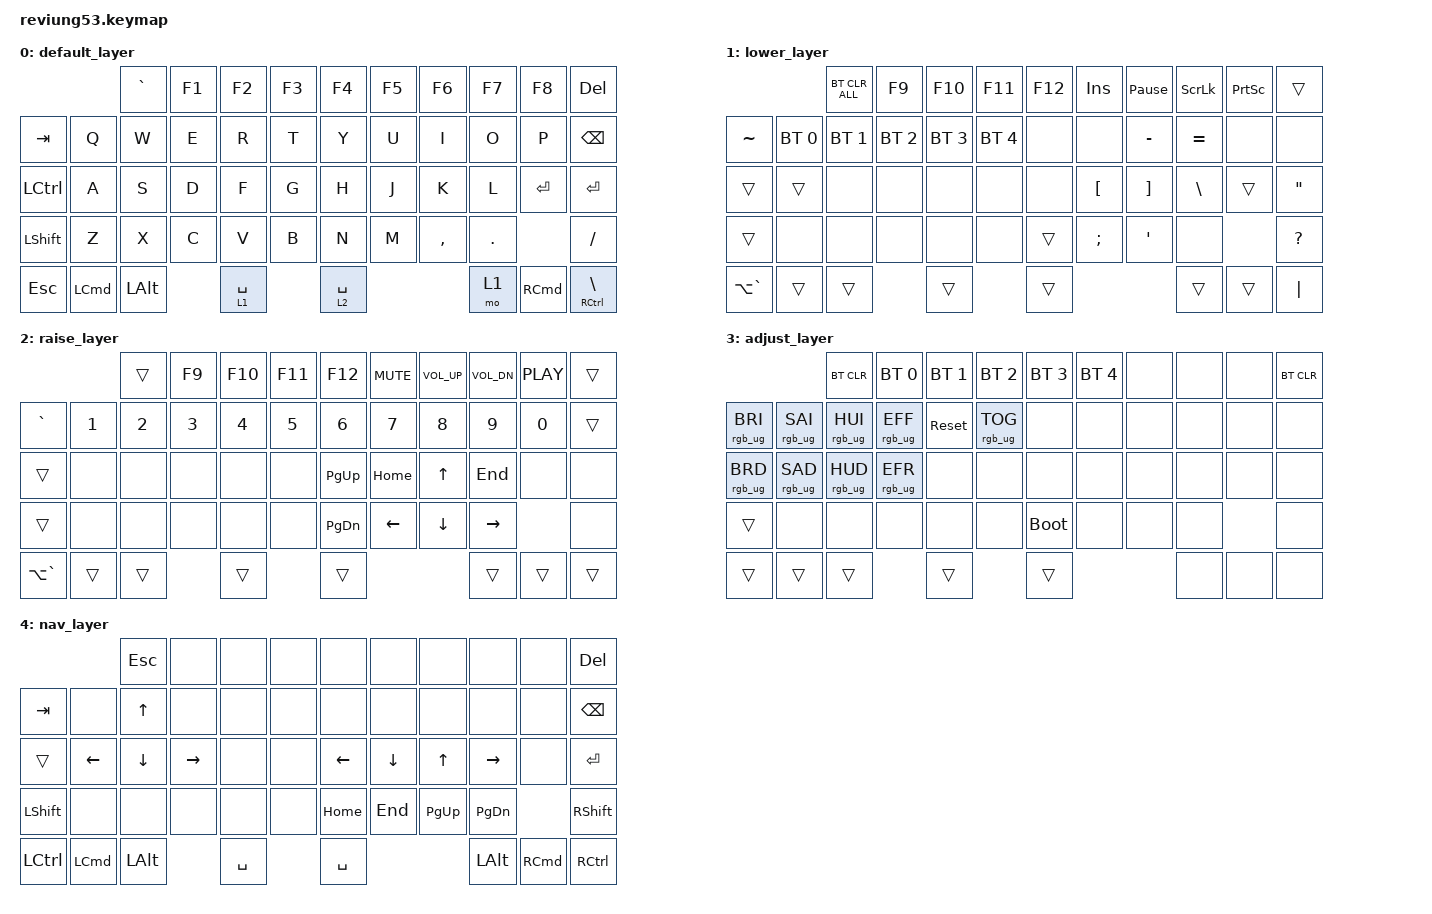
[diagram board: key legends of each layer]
/*
 * Copyright (c) 2023 The ZMK Contributors
 *
 * SPDX-License-Identifier: MIT
 */

#include <behaviors.dtsi>
#include <dt-bindings/zmk/bt.h>
#include <dt-bindings/zmk/keys.h>
#include <dt-bindings/zmk/rgb.h>

/ {
    conditional_layers {
        compatible = "zmk,conditional-layers";

        tri_layer {
            if-layers = <1 2>;
            then-layer = <3>;
        };
    };

    keymap {
        compatible = "zmk,keymap";

        default_layer {
            // ----------------------------------------------------------------------------------------
            // |      |     | ESC |  F1  |  F2  |  F3  |  F4  |  F5  |  F6  |  F7  |  F8  |   DEL     |
            // |  TAB |  Q  |  W  |  E   |  R   |  T   |   Y  |  U   |  I   |  O   |  P   |   BSPC    |
            // | CAPS |  A  |  S  |  D   |  F   |  G   |   H  |  J   |  K   |  L   |  ;   |   RET     |
            // | SHFT |  Z  |  X  |  C   |  V   |  B   |   N  |  M   |  ,   |  .   |    SHFT(/)       |
            // | CTRL | GUI | ALT |      LOWER(SPACE)  | RAISE(SPACE)|  ALT | GUI  |    CTRL(\)       |
            // |

            bindings = <
                     &kp GRAVE  &kp F1  &kp F2       &kp F3  &kp F4       &kp F5  &kp F6     &kp F7   &kp F8     &kp DEL
&kp TAB    &kp Q     &kp W      &kp E   &kp R        &kp T   &kp Y        &kp U   &kp I      &kp O    &kp P      &kp BSPC
&kp LCTRL  &kp A     &kp S      &kp D   &kp F        &kp G   &kp H        &kp J   &kp K      &kp L    &kp ENTER  &kp RET
&kp LSHFT  &kp Z     &kp X      &kp C   &kp V        &kp B   &kp N        &kp M   &kp COMMA  &kp DOT             &kp SLASH
&kp ESC    &kp LCMD  &kp LALT           &lt 1 SPACE          &lt 2 SPACE                     &mo 1    &kp RCMD   &mt RCTRL BSLH
            >;
        };

        lower_layer {
            // --------------------------------------------------------------------------------------------
            // |      |     |     |  F9  |  F10  |  F11  |  F12  |  INS  |  PAU  |  SCR   |  PSCR  |      |
            // |  ~   |  !  |  @  |  #   |  $    |  %    |   ^   |  &    |  *    |  (     |  )     |      |
            // |  NAV |     |     |      |       |       |       |  _    |  +    |  {     |  }     |  "   |
            // |      |     |     |      |       |       |       |       |       |        |      ?        |
            // |      |     |     |                      |               |       |        |      |        |
            // |

            bindings = <
                             &bt BT_CLR_ALL  &kp F9        &kp F10       &kp F11       &kp F12  &kp INS           &kp PAUSE_BREAK    &kp SLCK       &kp PSCRN  &trans
&kp TILDE      &bt BT_SEL 0  &bt BT_SEL 1    &bt BT_SEL 2  &bt BT_SEL 3  &bt BT_SEL 4  &none    &none             &kp MINUS          &kp EQUAL      &none      &none
&trans         &trans        &none           &none         &none         &none         &none    &kp LEFT_BRACKET  &kp RIGHT_BRACKET  &kp BACKSLASH  &trans     &kp DQT
&trans         &none         &none           &none         &none         &none         &trans   &kp SEMICOLON     &kp SQT            &none                     &kp QMARK
&kp LA(GRAVE)  &trans        &trans                        &trans                      &trans                                        &trans         &trans     &kp PIPE
            >;
        };

        raise_layer {
            // --------------------------------------------------------------------------------------
            // |      |     |     |  F9  |  F10  |  F11  |  F12  | MUTE | VOL+ | VOL- | PLAY |      |
            // |   `  |  1  |  2  |  3   |   4   |   5   |   6   |   7  |   8  |   9  |  0   |      |
            // |  NAV |     |     |      |       |       |       |  -   |   =  |  [   |  ]   |   '  |
            // |      |     |     |      |       |       |       |  +   |   <  |  >   |     :       |
            // |      |     |     |                      |              |      |      |     |       |
            // |

            bindings = <
                       &trans  &kp F9  &kp F10  &kp F11  &kp F12        &kp C_MUTE  &kp C_VOL_UP  &kp C_VOL_DN  &kp C_PLAY  &trans
&kp GRAVE      &kp N1  &kp N2  &kp N3  &kp N4   &kp N5   &kp N6         &kp N7      &kp N8        &kp N9        &kp N0      &trans
&trans         &none   &none   &none   &none    &none    &kp PAGE_UP    &kp HOME    &kp UP        &kp END       &none       &none
&trans         &none   &none   &none   &none    &none    &kp PAGE_DOWN  &kp LEFT    &kp DOWN      &kp RIGHT                 &none
&kp LA(GRAVE)  &trans  &trans          &trans            &trans                                   &trans        &trans      &trans
            >;
        };

        adjust_layer {
            // ------------------------------------------------------------------------------------------------------------------------
            // |          |          | BT CLR   |    BT1   |   BT2    |  BT3      |   BT4  |   BT5  |        |       |      | BT CLR  |
            // | RGB BRI+ | RGB SAT+ | RGB HUE+ | RGB ANI+ |          |  RGB TOG  |        |        |        |       |      |         |
            // | RGB BRI- | RGB SAT- | RGB HUE- | RGB ANI- |          |           |        |        |        |       |      |         |
            // |          |          |          |          |          |           |  BOOT  |        |        |       |                |
            // |          |          |          |                                 |                 |        |       |                |
            // |

            bindings = <
                                  &bt BT_CLR       &bt BT_SEL 0     &bt BT_SEL 1  &bt BT_SEL 2     &bt BT_SEL 3  &bt BT_SEL 4  &none  &none  &none  &bt BT_CLR
&rgb_ug RGB_BRI  &rgb_ug RGB_SAI  &rgb_ug RGB_HUI  &rgb_ug RGB_EFF  &sys_reset    &rgb_ug RGB_TOG  &none         &none         &none  &none  &none  &none
&rgb_ug RGB_BRD  &rgb_ug RGB_SAD  &rgb_ug RGB_HUD  &rgb_ug RGB_EFR  &none         &none            &none         &none         &none  &none  &none  &none
&trans           &none            &none            &none            &none         &none            &bootloader   &none         &none  &none         &none
&trans           &trans           &trans                            &trans                         &trans                             &none  &none  &none
            >;
        };

        nav_layer {
            // ------------------------------------------------------------------------------------------------------------------------
            // |          |          |    ESC   |          |          |           |        |        |        |       |      |   DEL   |
            // | TAB      |          |    UP    |          |          |           |        |        |        |       |      |  BSPC   |
            // | NAV      |   LEFT   |   DOWN   |   RIGHT  |          |           |  LEFT  |  DOWN  |  UP    | RIGHT |      |  ENTER  |
            // | SHIFT    |          |          |          |          |           |  HOME  |  END   |  PGUP  | PGDN  |     SHIFT      |
            // | CTRL     |   GUI    |  ALT     |            SPACE                |      SPACE      |  ALT   | GUI   |     CTRL       |
            // |

            bindings = <
                     &kp ESC   &none      &none      &none  &none      &none     &none      &none      &none     &kp DEL
&kp TAB    &none     &kp UP    &none      &none      &none  &none      &none     &none      &none      &none     &kp BSPC
&trans     &kp LEFT  &kp DOWN  &kp RIGHT  &none      &none  &kp LEFT   &kp DOWN  &kp UP     &kp RIGHT  &none     &kp RET
&kp LSHFT  &none     &none     &none      &none      &none  &kp HOME   &kp END   &kp PG_UP  &kp PG_DN            &kp RSHFT
&kp LCTRL  &kp LCMD  &kp LALT             &kp SPACE         &kp SPACE                       &kp LALT   &kp RCMD  &kp RCTRL
            >;
        };
    };
};
